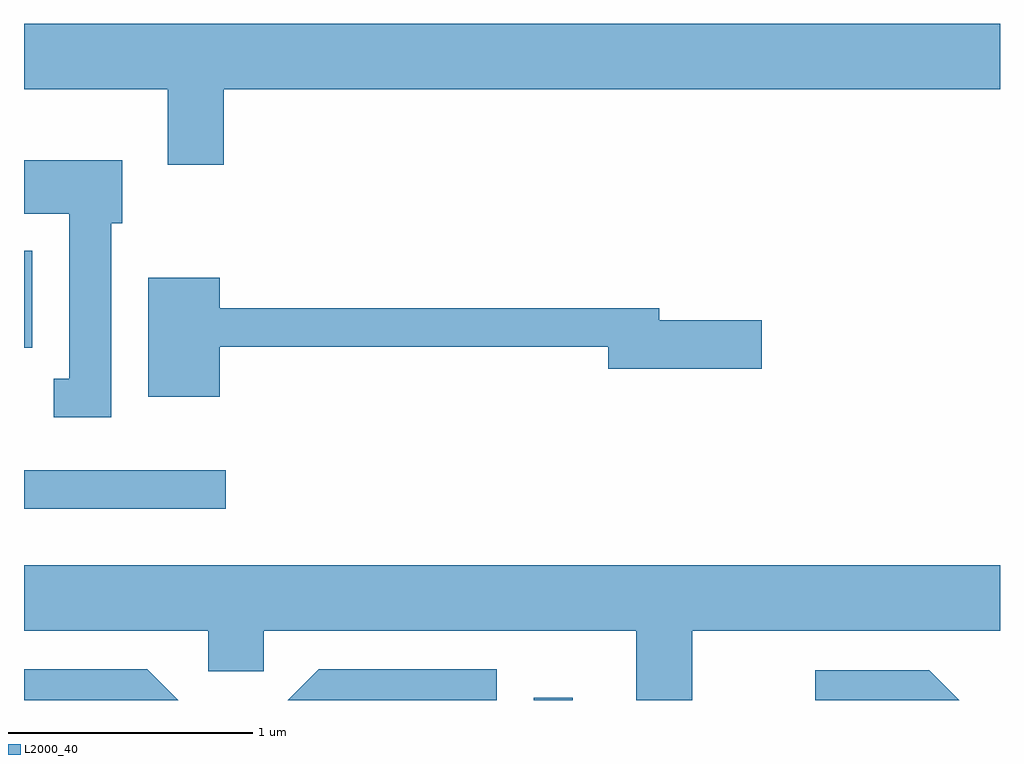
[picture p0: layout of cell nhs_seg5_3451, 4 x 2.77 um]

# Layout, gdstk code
import gdstk
lib = gdstk.Library(unit=1e-6, precision=1e-09)
def R(c, l, rs):  # rectangles x0, y0, x1, y1
    for r in rs: c.add(gdstk.rectangle(r[:2], r[2:], *l))
def P(c, l, *ps):  # polygons
    for p in ps: c.add(gdstk.Polygon(p, *l))
L2000_40 = (2000, 40)

nhs_seg5_3451 = lib.new_cell('nhs_seg5_3451')
R(nhs_seg5_3451, L2000_40, [(289.701,1452.072,289.859,1452.083), (287.611,1452.856,288.438,1453.014), (287.611,1453.516,287.644,1453.914)])
P(nhs_seg5_3451, L2000_40, [(288.429,1454.576),(291.611,1454.576),(291.611,1454.844),(287.611,1454.844),(287.611,1454.576),(288.201,1454.576),(288.201,1454.266),(288.429,1454.266)],
  [(287.969,1454.026),(288.014,1454.026),(288.014,1454.284),(287.611,1454.284),(287.611,1454.066),(287.796,1454.066),(287.796,1453.389),(287.733,1453.389),(287.733,1453.231),(287.969,1453.231)],
  [(288.414,1453.521),(290.006,1453.521),(290.006,1453.431),(290.634,1453.431),(290.634,1453.629),(290.214,1453.629),(290.214,1453.679),(288.414,1453.679),(288.414,1453.804),(288.121,1453.804),(288.121,1453.316),(288.414,1453.316)],
  [(290.349,1452.356),(291.611,1452.356),(291.611,1452.624),(287.611,1452.624),(287.611,1452.356),(288.366,1452.356),(288.366,1452.191),(288.594,1452.191),(288.594,1452.356),(290.121,1452.356),(290.121,1452.072),(290.349,1452.072)],
  [(289.549,1452.199),(288.819,1452.199),(288.692,1452.072),(289.549,1452.072)],
  [(288.117,1452.199),(287.611,1452.199),(287.611,1452.072),(288.244,1452.072)],
  [(291.322,1452.194),(290.853,1452.194),(290.853,1452.072),(291.444,1452.072)])

lib.write_gds('nhs_seg5_3451.gds')
